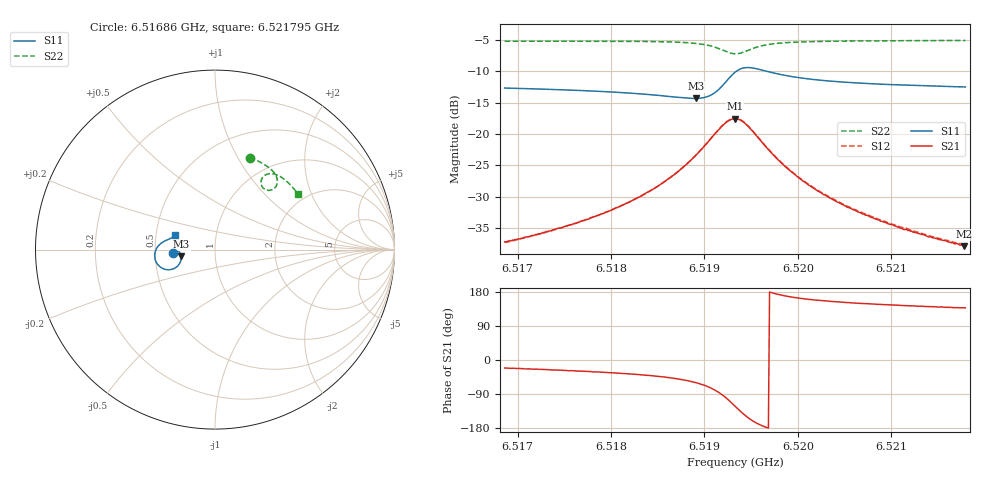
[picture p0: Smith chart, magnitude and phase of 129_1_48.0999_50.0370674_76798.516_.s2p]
#  HZ  S  RI  R  50.00
! Rohde & Schwarz Vector Network Analyzer
! Rohde-Schwarz,ZNB20-2Port,1311601062101988,3.16
! Created: UTC 12/23/2023, 3:47:33 AM
! freq[Hz]  re:S11  im:S11  re:S21  im:S21  re:S12  im:S12  re:S22  im:S22
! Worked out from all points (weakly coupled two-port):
!   401 points, 6.51686 GHz to 6.521795 GHz, reference 50 ohm
!   highest |S21| = -17.56 dB at 6.519327 GHz (marker M1); lowest = -37.9 dB at 6.521782 GHz (marker M2)
!   lowest |S11| = -14.3 dB at 6.518908 GHz (marker M3), VSWR 1.48, Z = 34.1 - j2.57 ohm
!   |S11| at or under -10 dB: start of sweep to 6.519343 GHz; 6.519667 GHz to end of sweep
!   |S22| runs from -7.2 to -5.1 dB; largest |S21 - S12| = 0.0041
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6.5168602e9  -0.2314 -0.0196  0.0129 -0.00497  0.0129 -0.00448  0.1934 0.5128
6.5172303e9  -0.2276 -0.014  0.0145 -0.00668  0.0147 -0.00618  0.2207 0.5022
6.5176867e9  -0.2216 -0.00835  0.0177 -0.00993  0.0179 -0.0093  0.2547 0.4859
6.5181802e9  -0.2121 -0.00575  0.0228 -0.0168  0.0234 -0.0162  0.2915 0.4633
6.5185133e9  -0.2025 -0.00964  0.0282 -0.0268  0.0292 -0.026  0.3173 0.442
6.5186983e9  -0.1957 -0.0169  0.0319 -0.0369  0.0332 -0.0361  0.3316 0.4255
6.518908e9  -0.1885 -0.0363  0.0341 -0.0584  0.0361 -0.0576  0.3452 0.3979
6.5190191e9  -0.1889 -0.0559  0.0303 -0.0773  0.0329 -0.0768  0.3475 0.3764
6.5191054e9  -0.1971 -0.0772  0.0197 -0.0968  0.0228 -0.0967  0.3419 0.3563
6.5192288e9  -0.2361 -0.1086  -0.02 -0.1212  -0.0166 -0.1228  0.3122 0.3315
6.5193275e9  -0.2917 -0.1051  -0.0697 -0.1127  -0.0669 -0.1154  0.2744 0.338
6.5193892e9  -0.3205 -0.0814  -0.0927 -0.0888  -0.0909 -0.0923  0.259 0.3579
6.5194508e9  -0.3344 -0.0507  -0.1018 -0.0608  -0.1007 -0.0642  0.2564 0.3808
6.5195495e9  -0.3321 -0.0085  -0.0952 -0.025  -0.0952 -0.028  0.2703 0.4077
6.5196606e9  -0.3164 0.02  -0.0785 -0.00344  -0.0793 -0.00562  0.2929 0.4207
6.5199073e9  -0.2855 0.0451  -0.0504 0.0114  -0.0512 0.00997  0.3328 0.4203
6.520154e9  -0.2672 0.0537  -0.035 0.0134  -0.036 0.0125  0.3598 0.4089
6.5205241e9  -0.2508 0.0608  -0.0231 0.0124  -0.0239 0.0121  0.3898 0.3881
6.5209805e9  -0.2383 0.0676  -0.0158 0.0107  -0.0163 0.0106  0.4189 0.3615
6.5214123e9  -0.2298 0.0738  -0.0117 0.00958  -0.0122 0.00942  0.4422 0.3353
6.5217824e9  -0.2236 0.0787  -0.00947 0.00855  -0.00984 0.00865  0.4601 0.3124
6.5217947e9  -0.2234 0.079  -0.00942 0.00861  -0.0099 0.00859  0.4607 0.3116
